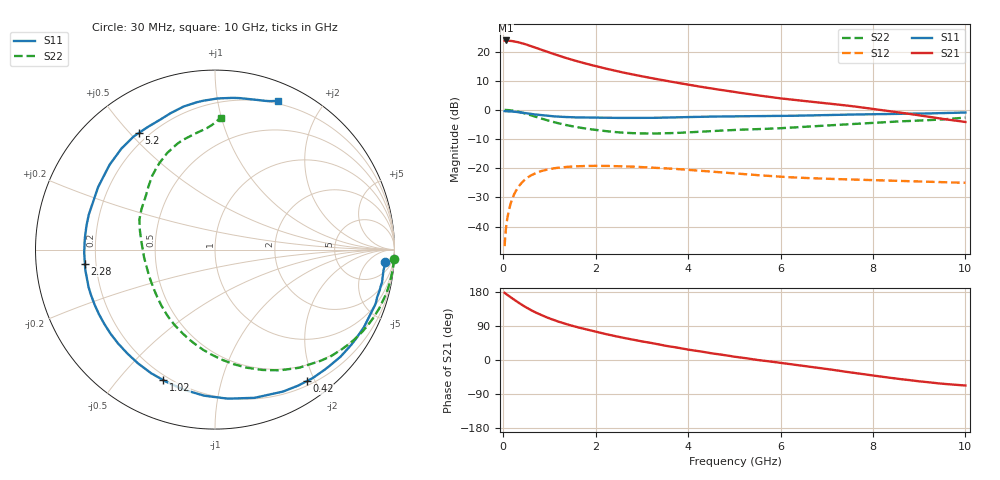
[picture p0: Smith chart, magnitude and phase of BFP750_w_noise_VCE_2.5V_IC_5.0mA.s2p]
! Infineon Technologies  Discrete & RF Semiconductors
! BFP750
! VCE =  2.5 V,  IC =  5.0 mA
! Common Emitter S-Parameters:  Jan 2016
# GHz  S  MA  R  50
!  f  S11  S21  S12  S22
! GHz  MAG  ANG  MAG  ANG  MAG  ANG  MAG  ANG
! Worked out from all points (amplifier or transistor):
!   229 points, 30 MHz to 10 GHz, reference 50 ohm
!   highest |S21| = 23.8 dB at 50 MHz (marker M1)
!   |S21| within 3 dB of that: start of sweep to 794.8 MHz
!   unconditionally stable (mu >= 1): 5.582 GHz to end of sweep
!   at 280 MHz: K = 0.05, MSG = 25.5 dB, |S12| = -27.6 dB
!   at 1.78 GHz: K = 0.24, MSG = 17.6 dB, |S12| = -19.3 dB
!   at 10 GHz: K = 1.29, MAG = 7.2 dB, |S12| = -25.0 dB
!   lowest NFmin = 0.59 dB at 450 MHz
!   S11 on the Smith chart (normalised r, x): 30 MHz: 13, -18; 420 MHz: 0.26, -1.89; 1.02 GHz: 0.18, -0.66; 2.28 GHz: 0.16, -0.05; 5.2 GHz: 0.16, +0.53; 10 GHz: 0.17, +1.50
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0.03  0.9492 -4.1  15.36 177.2  0.0046 87.0  0.9979 -3.0
0.05  0.9459 -7.0  15.49 174.9  0.0078 85.3  0.9974 -5.0
0.15  0.9405 -20.6  15.3 166.6  0.0232 77.8  0.9836 -14.9
0.2  0.9356 -27.4  15.09 162.2  0.0305 73.8  0.9717 -19.8
0.3  0.9194 -40.4  14.6 153.9  0.0442 66.2  0.9397 -29.2
0.42  0.8937 -55.1  13.78 144.4  0.0584 57.4  0.8897 -39.9
0.58  0.8567 -72.9  12.56 133.0  0.0735 47.2  0.8164 -52.8
0.7  0.8336 -85.1  11.67 125.5  0.0823 40.6  0.7633 -61.8
0.9  0.7998 -102.5  10.24 114.6  0.0927 31.1  0.6821 -74.8
1.02  0.7821 -111.7  9.484 108.9  0.0971 26.2  0.6402 -81.8
1.2  0.7654 -124.0  8.502 101.1  0.1021 19.9  0.5878 -91.5
1.34  0.7542 -132.3  7.841 95.8  0.1046 15.5  0.5541 -98.3
1.7  0.7401 -150.8  6.487 83.6  0.1085 6.0  0.4899 -114.1
2.28  0.7294 -173.9  4.977 66.9  0.1092 -6.3  0.4267 -135.7
2.8  0.7286 170.0  4.047 53.8  0.1063 -15.1  0.3989 -153.1
3.4  0.734 154.4  3.283 40.4  0.1008 -23.5  0.3949 -170.5
4  0.7539 141.2  2.707 27.4  0.0938 -30.7  0.4112 174.7
5.1  0.7759 124.3  1.976 7.2  0.0803 -38.7  0.4556 156.9
5.2  0.776 123.0  1.924 5.6  0.0792 -39.1  0.4582 155.4
6.8  0.8085 104.6  1.344 -20.2  0.0667 -42.7  0.5276 132.8
8.4  0.851 83.4  0.942 -47.4  0.0609 -44.8  0.6248 109.9
10  0.9005 67.0  0.62 -67.4  0.0563 -45.6  0.7368 87.3
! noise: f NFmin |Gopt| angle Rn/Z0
0.45  0.59  0.43  1  0.13
0.9  0.61  0.36  29  0.13
1.5  0.68  0.26  71  0.11
1.9  0.74  0.25  97  0.07
2.4  0.84  0.25  127  0.1
3.5  1.23  0.3  174  0.08
